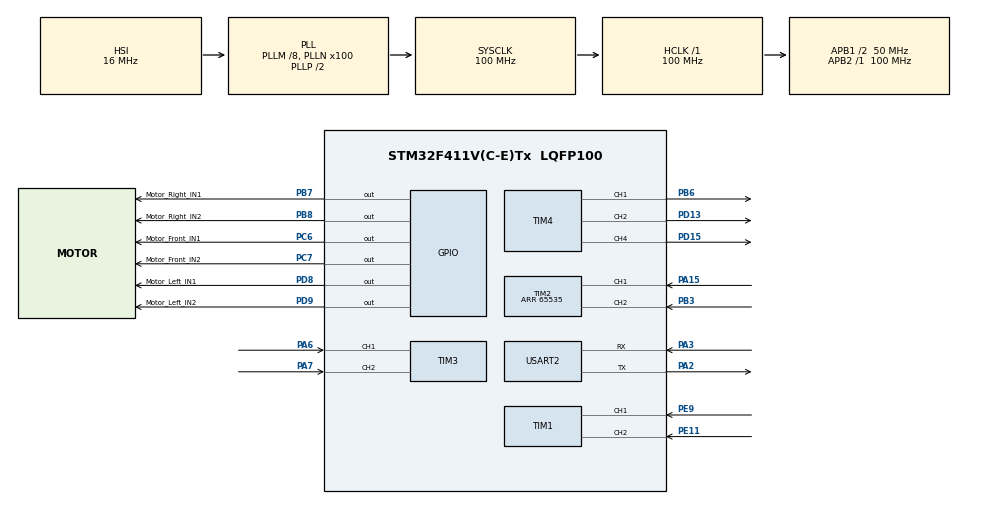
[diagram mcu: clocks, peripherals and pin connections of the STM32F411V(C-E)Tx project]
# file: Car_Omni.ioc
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Mcu.Family=STM32F4
Mcu.Name=STM32F411V(C-E)Tx
Mcu.Package=LQFP100
NVIC.PriorityGroup=NVIC_PRIORITYGROUP_4
NVIC.TIM1_BRK_TIM9_IRQn=true\:0\:0\:false\:false\:true\:true\:true\:true
NVIC.USART2_IRQn=true\:0\:0\:false\:false\:true\:true\:true\:true
PA13.Mode=Serial_Wire
PA13.Signal=SYS_JTMS-SWDIO
PA14.Mode=Serial_Wire
PA14.Signal=SYS_JTCK-SWCLK
PA15.Signal=S_TIM2_CH1_ETR
PA2.Mode=Asynchronous
PA2.Signal=USART2_TX
PA3.Mode=Asynchronous
PA3.Signal=USART2_RX
PA6.Signal=S_TIM3_CH1
PA7.Signal=S_TIM3_CH2
PB3.Signal=S_TIM2_CH2
PB6.Signal=S_TIM4_CH1
PB7.GPIO_Label=Motor_Right_IN1
PB7.Signal=GPIO_Output
PB8.GPIO_Label=Motor_Right_IN2
PB8.Signal=GPIO_Output
PC6.GPIO_Label=Motor_Front_IN1
PC6.Signal=GPIO_Output
PC7.GPIO_Label=Motor_Front_IN2
PC7.Signal=GPIO_Output
PD13.Signal=S_TIM4_CH2
PD15.Signal=S_TIM4_CH4
PD8.GPIO_Label=Motor_Left_IN1
PD8.Signal=GPIO_Output
PD9.GPIO_Label=Motor_Left_IN2
PD9.Signal=GPIO_Output
PE11.Signal=S_TIM1_CH2
PE9.Signal=S_TIM1_CH1
PH0\ -\ OSC_IN.Mode=HSE-External-Oscillator
PH0\ -\ OSC_IN.Signal=RCC_OSC_IN
PH1\ -\ OSC_OUT.Mode=HSE-External-Oscillator
PH1\ -\ OSC_OUT.Signal=RCC_OSC_OUT
ProjectManager.HeapSize=0x200
ProjectManager.StackSize=0x400
ProjectManager.TargetToolchain=MDK-ARM V5.32
RCC.48MHZClocksFreq_Value=50000000
RCC.AHBFreq_Value=100000000
RCC.APB1CLKDivider=RCC_HCLK_DIV2
RCC.APB1Freq_Value=50000000
RCC.APB1TimFreq_Value=100000000
RCC.APB2Freq_Value=100000000
RCC.APB2TimFreq_Value=100000000
RCC.CortexFreq_Value=100000000
RCC.HCLKFreq_Value=100000000
RCC.HSE_VALUE=25000000
RCC.HSI_VALUE=16000000
RCC.LSE_VALUE=32768
RCC.PLLM=8
RCC.PLLN=100
RCC.SYSCLKFreq_VALUE=100000000
RCC.SYSCLKSource=RCC_SYSCLKSOURCE_PLLCLK
RCC.VCOOutputFreq_Value=200000000
SH.S_TIM1_CH1.0=TIM1_CH1,Encoder_Interface
SH.S_TIM1_CH2.0=TIM1_CH2,Encoder_Interface
SH.S_TIM2_CH1_ETR.0=TIM2_CH1,Encoder_Interface
SH.S_TIM2_CH2.0=TIM2_CH2,Encoder_Interface
SH.S_TIM3_CH1.0=TIM3_CH1,Encoder_Interface
SH.S_TIM3_CH2.0=TIM3_CH2,Encoder_Interface
SH.S_TIM4_CH1.0=TIM4_CH1,PWM Generation1 CH1
SH.S_TIM4_CH2.0=TIM4_CH2,PWM Generation2 CH2
SH.S_TIM4_CH4.0=TIM4_CH4,PWM Generation4 CH4
TIM1.EncoderMode=TIM_ENCODERMODE_TI12
TIM2.EncoderMode=TIM_ENCODERMODE_TI12
TIM2.Period=65535
TIM3.EncoderMode=TIM_ENCODERMODE_TI12
TIM4.Channel-PWM\ Generation1\ CH1=TIM_CHANNEL_1
TIM4.Channel-PWM\ Generation2\ CH2=TIM_CHANNEL_2
TIM4.Channel-PWM\ Generation4\ CH4=TIM_CHANNEL_4
TIM5.Period=4294967295
TIM5.Prescaler=9
TIM9.Period=9999
TIM9.Prescaler=999
USART2.VirtualMode=VM_ASYNC
VP_TIM5_VS_ClockSourceINT.Mode=Internal
VP_TIM9_VS_ClockSourceINT.Mode=Internal
board=custom

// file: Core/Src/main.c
/* USER CODE BEGIN Header */
/**
  ******************************************************************************
  * @file           : main.c
  * @brief          : Main program body
  ******************************************************************************
  * @attention
  *
  * Copyright (c) 2025 STMicroelectronics.
  * All rights reserved.
  *
  * This software is licensed under terms that can be found in the LICENSE file
  * in the root directory of this software component.
  * If no LICENSE file comes with this software, it is provided AS-IS.
  *
  ******************************************************************************
  */
/* USER CODE END Header */
#include "main.h"

/* USER CODE BEGIN Includes */
#include "uart.h"
#include "car.h"
#include "math.h"
#include <stdio.h>
#include <string.h>
#include "pid.h"

/* USER CODE END Includes */

/* USER CODE BEGIN PD */
#define TIME_CONVERT 600.0f
#define PPR 200
#define WHEEL_RADIUS 0.029f
#define L 0.12f
#define PI 3.14159265359f
#define V_MAX 0.647f
/* USER CODE END PD */

TIM_HandleTypeDef htim1;
TIM_HandleTypeDef htim2;
TIM_HandleTypeDef htim3;
TIM_HandleTypeDef htim4;
TIM_HandleTypeDef htim5;
TIM_HandleTypeDef htim9;

UART_HandleTypeDef huart2;

/* USER CODE BEGIN PV */
Motor_TypeDef motor_front;
Motor_TypeDef motor_left;
Motor_TypeDef motor_right;

PID_Typedef pid_front;
PID_Typedef pid_left;
PID_Typedef pid_right;
Filter_State filter_front = {0};
Filter_State filter_left = {0};
Filter_State filter_right = {0};
Filter_State filter_pwm_front = {0};
Filter_State filter_pwm_left = {0};
Filter_State filter_pwm_right = {0};
/* USER CODE END PV */

void SystemClock_Config(void);
static void MX_GPIO_Init(void);
static void MX_TIM3_Init(void);
static void MX_TIM4_Init(void);
static void MX_TIM5_Init(void);
static void MX_TIM1_Init(void);
static void MX_TIM2_Init(void);
static void MX_USART2_UART_Init(void);
static void MX_TIM9_Init(void);

/* USER CODE BEGIN 0 */
uint8_t uart_buff[40];
Car_Direct direct;
uint8_t data_rx;
volatile int16_t counterEncoder_motorFront = 0;
volatile int16_t counterEncoder_motorLeft = 0;
volatile int16_t counterEncoder_motorRight = 0;
uint32_t time_delay = 0;
uint8_t flag_encoder = 0;
float rpm_front = 0, rpm_left = 0, rpm_right = 0;
float v_front = 0, v_left = 0, v_right = 0;
float vx = 0, vy = 0, omega = 0;
extern int8_t speed_left;
extern int8_t speed_right;
extern int8_t speed_front;
float pwm_front = 0, pwm_left = 0, pwm_right = 0;

uint32_t start_time_front = 0, start_time_left = 0, start_time_right = 0;
uint8_t is_starting_front = 0, is_starting_left = 0, is_starting_right = 0;
float ramp_time_ms = 500.0f; // 1 giây để đạt PWM đầy đủ
float max_pwm = 100.0f; // PWM tối đa (phần trăm)

float filter(Filter_State* state, float value, float dis){
	float disf = fabs(value - state->y_prev);
	float alpha = disf / dis;
	if(alpha > 1) alpha = 1;
	float y = alpha * value + (1 - alpha) * state->y_prev;
	state->y_prev = y;
	return y;
}
float setpoint_front;
float setpoint_left;
float setpoint_right;
float v_sum;
float compensation_front;
float compensation_left;
float compensation_right;

void Calculate_Velocity(){
    counterEncoder_motorFront = (int16_t)htim1.Instance->CNT / 8;
    counterEncoder_motorLeft = (int16_t)htim2.Instance->CNT / 8;
    counterEncoder_motorRight = (int16_t)htim3.Instance->CNT / 8;

    htim1.Instance->CNT = 0;
    htim2.Instance->CNT = 0;
    htim3.Instance->CNT = 0;

	if(speed_front == 0){
		rpm_front = 0;
	}else{
		//rpm_front = fabs((float)(counterEncoder_motorFront * TIME_CONVERT)) / PPR;
		rpm_front = filter(&filter_front, fabs((float)(counterEncoder_motorFront * TIME_CONVERT)) / PPR, 70);
	}
	if(speed_left == 0){
		rpm_left = 0;
	}else{
		//rpm_left = fabs((float)(counterEncoder_motorLeft * TIME_CONVERT)) / PPR;
		rpm_left = filter(&filter_left, fabs((float)(counterEncoder_motorLeft * TIME_CONVERT)) / PPR, 70);
	}
	if(speed_right == 0){
		rpm_right = 0;
	}else{
		//rpm_right = fabs((float)(counterEncoder_motorRight * TIME_CONVERT)) / PPR;
		rpm_right = filter(&filter_right, fabs((float)(counterEncoder_motorRight * TIME_CONVERT)) / PPR, 70);
	}

    // Tính tốc độ tuyến tính (m/s)
    v_front = (rpm_front * 2 * PI * WHEEL_RADIUS) / 60.0f;
    v_left = (rpm_left * 2 * PI * WHEEL_RADIUS) / 60.0f;
    v_right = (rpm_right * 2 * PI * WHEEL_RADIUS) / 60.0f;

    setpoint_front = fabs((float)speed_front) / 100 * V_MAX;
    setpoint_left = fabs((float)speed_left) / 100 * V_MAX;
    setpoint_right = fabs((float)speed_right) / 100 * V_MAX;

	v_sum = v_front + v_left + v_right;
	float setpoint_sum = setpoint_front + setpoint_left + setpoint_right;
	float k = (setpoint_sum != 0) ? (v_sum / setpoint_sum) : 0;

	compensation_front = (v_front != 0) ? (k * setpoint_front / v_front) : 1;
	compensation_left = (v_left != 0) ? (k * setpoint_left / v_left) : 1;
	compensation_right = (v_right != 0) ? (k * setpoint_right / v_right) : 1;

	if(is_starting_front) compensation_front = 1;
	if(is_starting_left) compensation_left = 1;
	if(is_starting_right) compensation_right = 1;

	pwm_front = PID_Calculate(&pid_front, setpoint_front, v_front) * 100  * compensation_front;
    pwm_left = PID_Calculate(&pid_left, setpoint_left, v_left) * 100 * compensation_left;
    pwm_right = PID_Calculate(&pid_right, setpoint_right, v_right) * 100 * compensation_right;

	if(pwm_front > 100) pwm_front = 100;
	if(pwm_left > 100) pwm_left = 100;
	if(pwm_right > 100) pwm_right = 100;

    // Kiểm tra trạng thái khởi động cho từng động cơ

    // Nếu động cơ dừng, reset trạng thái
    if (speed_front == 0) {
		PID_Reset(&pid_front);
    }
    if (speed_left == 0) {
		PID_Reset(&pid_left);
    }
    if (speed_right == 0) {
		PID_Reset(&pid_right);
    }
    // Áp dụng soft start cho từng động cơ
    pwm_front = soft_start(pwm_front, start_time_front, max_pwm, ramp_time_ms, &is_starting_front);
    pwm_left = soft_start(pwm_left, start_time_left, max_pwm, ramp_time_ms, &is_starting_left);
    pwm_right = soft_start(pwm_right, start_time_right, max_pwm, ramp_time_ms, &is_starting_right);

    if(speed_front < 0) pwm_front *= (-1.0f);
    if(speed_left < 0) pwm_left *= (-1.0f);
    if(speed_right < 0) pwm_right *= (-1.0f);

    // Tính vận tốc tổng (bánh ở góc 0°, 120°, 240°)
    vx = (-sqrt(3) / 3) * v_left + (sqrt(3) / 3) * v_right;
    vy = (2.0f / 3.0f) * v_front - 1.0f / 3.0f * v_left - (1.0f / 3.0f) * v_right;
    omega = (v_front + v_left + v_right) / (3.0f * L);
}

void HAL_UART_RxCpltCallback(UART_HandleTypeDef* huart){
	if(huart->Instance == huart2.Instance){
		uart_receive_data(data_rx);
		HAL_UART_Receive_IT(huart, &data_rx, 1);
	}
}

void HAL_TIM_PeriodElapsedCallback(TIM_HandleTypeDef* htim){
	if(htim->Instance == htim9.Instance){
		flag_encoder = 1;
	}
}
char msg[30];

/* USER CODE END 0 */

int main(void)
{

  /* MCU Configuration--------------------------------------------------------*/

  /* Reset of all peripherals, Initializes the Flash interface and the Systick. */
  HAL_Init();

  /* Configure the system clock */
  SystemClock_Config();

  /* Initialize all configured peripherals */
  MX_GPIO_Init();
  MX_TIM3_Init();
  MX_TIM4_Init();
  MX_TIM5_Init();
  MX_TIM1_Init();
  MX_TIM2_Init();
  MX_USART2_UART_Init();
  MX_TIM9_Init();
  /* USER CODE BEGIN 2 */
	PID_Init(&pid_front, KP, KI, KD);
	PID_Init(&pid_left, KP, KI, KD);
	PID_Init(&pid_right, KP, KI, KD);

	motor_init(&motor_front, Motor_Front_IN1_GPIO_Port, Motor_Front_IN1_Pin, Motor_Front_IN2_GPIO_Port, Motor_Front_IN2_Pin, &htim4, TIM_CHANNEL_4);
	motor_init(&motor_left, Motor_Left_IN1_GPIO_Port, Motor_Left_IN1_Pin, Motor_Left_IN2_GPIO_Port, Motor_Left_IN2_Pin, &htim4, TIM_CHANNEL_2);
	motor_init(&motor_right, Motor_Right_IN1_GPIO_Port, Motor_Right_IN1_Pin, Motor_Right_IN2_GPIO_Port, Motor_Right_IN2_Pin, &htim4, TIM_CHANNEL_1);
	car_init();

	HAL_TIM_Encoder_Start(&htim1, TIM_CHANNEL_ALL);
	HAL_TIM_Encoder_Start(&htim2, TIM_CHANNEL_ALL);
	HAL_TIM_Encoder_Start(&htim3, TIM_CHANNEL_ALL);

	HAL_UART_Receive_IT(&huart2, &data_rx, 1);
	HAL_TIM_Base_Start(&htim5);
	HAL_TIM_Base_Start_IT(&htim9);

  /* USER CODE END 2 */

  /* Infinite loop */
  while (1)
  {

    /* USER CODE BEGIN 3 */
	  uart_handle();
	  if(flag_encoder){
		  Calculate_Velocity();
		  sprintf(msg, "%.3f %.3f %.3f\r\n", vx, vy, omega);
		  HAL_UART_Transmit(&huart2, (uint8_t*)msg, strlen(msg), 1000);
		  flag_encoder = 0;
	  }
	  car_control(direct, pwm_front, pwm_left, pwm_right);
	  //car_control(CAR_RUN, 70, 70, 70);

  }
  /* USER CODE END 3 */
}

void SystemClock_Config(void)
{
  RCC_OscInitTypeDef RCC_OscInitStruct = {0};
  RCC_ClkInitTypeDef RCC_ClkInitStruct = {0};

  /** Configure the main internal regulator output voltage
  */
  __HAL_RCC_PWR_CLK_ENABLE();
  __HAL_PWR_VOLTAGESCALING_CONFIG(PWR_REGULATOR_VOLTAGE_SCALE1);

  /** Initializes the RCC Oscillators according to the specified parameters
  * in the RCC_OscInitTypeDef structure.
  */
  RCC_OscInitStruct.OscillatorType = RCC_OSCILLATORTYPE_HSI;
  RCC_OscInitStruct.HSIState = RCC_HSI_ON;
  RCC_OscInitStruct.HSICalibrationValue = RCC_HSICALIBRATION_DEFAULT;
  RCC_OscInitStruct.PLL.PLLState = RCC_PLL_ON;
  RCC_OscInitStruct.PLL.PLLSource = RCC_PLLSOURCE_HSI;
  RCC_OscInitStruct.PLL.PLLM = 8;
  RCC_OscInitStruct.PLL.PLLN = 100;
  RCC_OscInitStruct.PLL.PLLP = RCC_PLLP_DIV2;
  RCC_OscInitStruct.PLL.PLLQ = 4;
  if (HAL_RCC_OscConfig(&RCC_OscInitStruct) != HAL_OK)
  {
    Error_Handler();
  }

  /** Initializes the CPU, AHB and APB buses clocks
  */
  RCC_ClkInitStruct.ClockType = RCC_CLOCKTYPE_HCLK|RCC_CLOCKTYPE_SYSCLK
                              |RCC_CLOCKTYPE_PCLK1|RCC_CLOCKTYPE_PCLK2;
  RCC_ClkInitStruct.SYSCLKSource = RCC_SYSCLKSOURCE_PLLCLK;
  RCC_ClkInitStruct.AHBCLKDivider = RCC_SYSCLK_DIV1;
  RCC_ClkInitStruct.APB1CLKDivider = RCC_HCLK_DIV2;
  RCC_ClkInitStruct.APB2CLKDivider = RCC_HCLK_DIV1;

  if (HAL_RCC_ClockConfig(&RCC_ClkInitStruct, FLASH_LATENCY_3) != HAL_OK)
  {
    Error_Handler();
  }
}

static void MX_TIM1_Init(void)
{

  TIM_Encoder_InitTypeDef sConfig = {0};
  TIM_MasterConfigTypeDef sMasterConfig = {0};

  htim1.Instance = TIM1;
  htim1.Init.Prescaler = 0;
  htim1.Init.CounterMode = TIM_COUNTERMODE_UP;
  htim1.Init.Period = 65535;
  htim1.Init.ClockDivision = TIM_CLOCKDIVISION_DIV1;
  htim1.Init.RepetitionCounter = 0;
  htim1.Init.AutoReloadPreload = TIM_AUTORELOAD_PRELOAD_DISABLE;
  sConfig.EncoderMode = TIM_ENCODERMODE_TI12;
  sConfig.IC1Polarity = TIM_ICPOLARITY_RISING;
  sConfig.IC1Selection = TIM_ICSELECTION_DIRECTTI;
  sConfig.IC1Prescaler = TIM_ICPSC_DIV1;
  sConfig.IC1Filter = 0;
  sConfig.IC2Polarity = TIM_ICPOLARITY_RISING;
  sConfig.IC2Selection = TIM_ICSELECTION_DIRECTTI;
  sConfig.IC2Prescaler = TIM_ICPSC_DIV1;
  sConfig.IC2Filter = 0;
  if (HAL_TIM_Encoder_Init(&htim1, &sConfig) != HAL_OK)
  {
    Error_Handler();
  }
  sMasterConfig.MasterOutputTrigger = TIM_TRGO_RESET;
  sMasterConfig.MasterSlaveMode = TIM_MASTERSLAVEMODE_DISABLE;
  if (HAL_TIMEx_MasterConfigSynchronization(&htim1, &sMasterConfig) != HAL_OK)
  {
    Error_Handler();
  }

}

static void MX_TIM2_Init(void)
{

  TIM_Encoder_InitTypeDef sConfig = {0};
  TIM_MasterConfigTypeDef sMasterConfig = {0};

  htim2.Instance = TIM2;
  htim2.Init.Prescaler = 0;
  htim2.Init.CounterMode = TIM_COUNTERMODE_UP;
  htim2.Init.Period = 65535;
  htim2.Init.ClockDivision = TIM_CLOCKDIVISION_DIV1;
  htim2.Init.AutoReloadPreload = TIM_AUTORELOAD_PRELOAD_DISABLE;
  sConfig.EncoderMode = TIM_ENCODERMODE_TI12;
  sConfig.IC1Polarity = TIM_ICPOLARITY_RISING;
  sConfig.IC1Selection = TIM_ICSELECTION_DIRECTTI;
  sConfig.IC1Prescaler = TIM_ICPSC_DIV1;
  sConfig.IC1Filter = 0;
  sConfig.IC2Polarity = TIM_ICPOLARITY_RISING;
  sConfig.IC2Selection = TIM_ICSELECTION_DIRECTTI;
  sConfig.IC2Prescaler = TIM_ICPSC_DIV1;
  sConfig.IC2Filter = 0;
  if (HAL_TIM_Encoder_Init(&htim2, &sConfig) != HAL_OK)
  {
    Error_Handler();
  }
  sMasterConfig.MasterOutputTrigger = TIM_TRGO_RESET;
  sMasterConfig.MasterSlaveMode = TIM_MASTERSLAVEMODE_DISABLE;
  if (HAL_TIMEx_MasterConfigSynchronization(&htim2, &sMasterConfig) != HAL_OK)
  {
    Error_Handler();
  }

}

static void MX_TIM3_Init(void)
{

  TIM_Encoder_InitTypeDef sConfig = {0};
  TIM_MasterConfigTypeDef sMasterConfig = {0};

  htim3.Instance = TIM3;
  htim3.Init.Prescaler = 0;
  htim3.Init.CounterMode = TIM_COUNTERMODE_UP;
  htim3.Init.Period = 65535;
  htim3.Init.ClockDivision = TIM_CLOCKDIVISION_DIV1;
  htim3.Init.AutoReloadPreload = TIM_AUTORELOAD_PRELOAD_DISABLE;
  sConfig.EncoderMode = TIM_ENCODERMODE_TI12;
  sConfig.IC1Polarity = TIM_ICPOLARITY_RISING;
  sConfig.IC1Selection = TIM_ICSELECTION_DIRECTTI;
  sConfig.IC1Prescaler = TIM_ICPSC_DIV1;
  sConfig.IC1Filter = 0;
  sConfig.IC2Polarity = TIM_ICPOLARITY_RISING;
  sConfig.IC2Selection = TIM_ICSELECTION_DIRECTTI;
  sConfig.IC2Prescaler = TIM_ICPSC_DIV1;
  sConfig.IC2Filter = 0;
  if (HAL_TIM_Encoder_Init(&htim3, &sConfig) != HAL_OK)
  {
    Error_Handler();
  }
  sMasterConfig.MasterOutputTrigger = TIM_TRGO_RESET;
  sMasterConfig.MasterSlaveMode = TIM_MASTERSLAVEMODE_DISABLE;
  if (HAL_TIMEx_MasterConfigSynchronization(&htim3, &sMasterConfig) != HAL_OK)
  {
    Error_Handler();
  }

}

static void MX_TIM4_Init(void)
{

  TIM_MasterConfigTypeDef sMasterConfig = {0};
  TIM_OC_InitTypeDef sConfigOC = {0};

  htim4.Instance = TIM4;
  htim4.Init.Prescaler = 0;
  htim4.Init.CounterMode = TIM_COUNTERMODE_UP;
  htim4.Init.Period = 65535;
  htim4.Init.ClockDivision = TIM_CLOCKDIVISION_DIV1;
  htim4.Init.AutoReloadPreload = TIM_AUTORELOAD_PRELOAD_DISABLE;
  if (HAL_TIM_PWM_Init(&htim4) != HAL_OK)
  {
    Error_Handler();
  }
  sMasterConfig.MasterOutputTrigger = TIM_TRGO_RESET;
  sMasterConfig.MasterSlaveMode = TIM_MASTERSLAVEMODE_DISABLE;
  if (HAL_TIMEx_MasterConfigSynchronization(&htim4, &sMasterConfig) != HAL_OK)
  {
    Error_Handler();
  }
  sConfigOC.OCMode = TIM_OCMODE_PWM1;
  sConfigOC.Pulse = 0;
  sConfigOC.OCPolarity = TIM_OCPOLARITY_HIGH;
  sConfigOC.OCFastMode = TIM_OCFAST_DISABLE;
  if (HAL_TIM_PWM_ConfigChannel(&htim4, &sConfigOC, TIM_CHANNEL_1) != HAL_OK)
  {
    Error_Handler();
  }
  if (HAL_TIM_PWM_ConfigChannel(&htim4, &sConfigOC, TIM_CHANNEL_2) != HAL_OK)
  {
    Error_Handler();
  }
  if (HAL_TIM_PWM_ConfigChannel(&htim4, &sConfigOC, TIM_CHANNEL_4) != HAL_OK)
  {
    Error_Handler();
  }
  HAL_TIM_MspPostInit(&htim4);

}

static void MX_TIM5_Init(void)
{

  TIM_ClockConfigTypeDef sClockSourceConfig = {0};
  TIM_MasterConfigTypeDef sMasterConfig = {0};

  htim5.Instance = TIM5;
  htim5.Init.Prescaler = 9;
  htim5.Init.CounterMode = TIM_COUNTERMODE_UP;
  htim5.Init.Period = 4294967295;
  htim5.Init.ClockDivision = TIM_CLOCKDIVISION_DIV1;
  htim5.Init.AutoReloadPreload = TIM_AUTORELOAD_PRELOAD_DISABLE;
  if (HAL_TIM_Base_Init(&htim5) != HAL_OK)
  {
    Error_Handler();
  }
  sClockSourceConfig.ClockSource = TIM_CLOCKSOURCE_INTERNAL;
  if (HAL_TIM_ConfigClockSource(&htim5, &sClockSourceConfig) != HAL_OK)
  {
    Error_Handler();
  }
  sMasterConfig.MasterOutputTrigger = TIM_TRGO_RESET;
  sMasterConfig.MasterSlaveMode = TIM_MASTERSLAVEMODE_DISABLE;
  if (HAL_TIMEx_MasterConfigSynchronization(&htim5, &sMasterConfig) != HAL_OK)
  {
    Error_Handler();
  }

}

static void MX_TIM9_Init(void)
{

  TIM_ClockConfigTypeDef sClockSourceConfig = {0};

  htim9.Instance = TIM9;
  htim9.Init.Prescaler = 999;
  htim9.Init.CounterMode = TIM_COUNTERMODE_UP;
  htim9.Init.Period = 9999;
  htim9.Init.ClockDivision = TIM_CLOCKDIVISION_DIV1;
  htim9.Init.AutoReloadPreload = TIM_AUTORELOAD_PRELOAD_DISABLE;
  if (HAL_TIM_Base_Init(&htim9) != HAL_OK)
  {
    Error_Handler();
  }
  sClockSourceConfig.ClockSource = TIM_CLOCKSOURCE_INTERNAL;
  if (HAL_TIM_ConfigClockSource(&htim9, &sClockSourceConfig) != HAL_OK)
  {
    Error_Handler();
  }

}

static void MX_USART2_UART_Init(void)
{

  huart2.Instance = USART2;
  huart2.Init.BaudRate = 115200;
  huart2.Init.WordLength = UART_WORDLENGTH_8B;
  huart2.Init.StopBits = UART_STOPBITS_1;
  huart2.Init.Parity = UART_PARITY_NONE;
  huart2.Init.Mode = UART_MODE_TX_RX;
  huart2.Init.HwFlowCtl = UART_HWCONTROL_NONE;
  huart2.Init.OverSampling = UART_OVERSAMPLING_16;
  if (HAL_UART_Init(&huart2) != HAL_OK)
  {
    Error_Handler();
  }

}

static void MX_GPIO_Init(void)
{
  GPIO_InitTypeDef GPIO_InitStruct = {0};

  /* GPIO Ports Clock Enable */
  __HAL_RCC_GPIOH_CLK_ENABLE();
  __HAL_RCC_GPIOA_CLK_ENABLE();
  __HAL_RCC_GPIOE_CLK_ENABLE();
  __HAL_RCC_GPIOD_CLK_ENABLE();
  __HAL_RCC_GPIOC_CLK_ENABLE();
  __HAL_RCC_GPIOB_CLK_ENABLE();

  /*Configure GPIO pin Output Level */
  HAL_GPIO_WritePin(GPIOD, Motor_Left_IN1_Pin|Motor_Left_IN2_Pin, GPIO_PIN_RESET);

  /*Configure GPIO pin Output Level */
  HAL_GPIO_WritePin(GPIOC, Motor_Front_IN1_Pin|Motor_Front_IN2_Pin, GPIO_PIN_RESET);

  /*Configure GPIO pin Output Level */
  HAL_GPIO_WritePin(GPIOB, Motor_Right_IN1_Pin|Motor_Right_IN2_Pin, GPIO_PIN_RESET);

  /*Configure GPIO pins : Motor_Left_IN1_Pin Motor_Left_IN2_Pin */
  GPIO_InitStruct.Pin = Motor_Left_IN1_Pin|Motor_Left_IN2_Pin;
  GPIO_InitStruct.Mode = GPIO_MODE_OUTPUT_PP;
  GPIO_InitStruct.Pull = GPIO_NOPULL;
  GPIO_InitStruct.Speed = GPIO_SPEED_FREQ_LOW;
  HAL_GPIO_Init(GPIOD, &GPIO_InitStruct);

  /*Configure GPIO pins : Motor_Front_IN1_Pin Motor_Front_IN2_Pin */
  GPIO_InitStruct.Pin = Motor_Front_IN1_Pin|Motor_Front_IN2_Pin;
  GPIO_InitStruct.Mode = GPIO_MODE_OUTPUT_PP;
  GPIO_InitStruct.Pull = GPIO_NOPULL;
  GPIO_InitStruct.Speed = GPIO_SPEED_FREQ_LOW;
  HAL_GPIO_Init(GPIOC, &GPIO_InitStruct);

  /*Configure GPIO pins : Motor_Right_IN1_Pin Motor_Right_IN2_Pin */
  GPIO_InitStruct.Pin = Motor_Right_IN1_Pin|Motor_Right_IN2_Pin;
  GPIO_InitStruct.Mode = GPIO_MODE_OUTPUT_PP;
  GPIO_InitStruct.Pull = GPIO_NOPULL;
  GPIO_InitStruct.Speed = GPIO_SPEED_FREQ_LOW;
  HAL_GPIO_Init(GPIOB, &GPIO_InitStruct);

}

void Error_Handler(void)
{
  __disable_irq();
  while (1)
  {
  }
}
